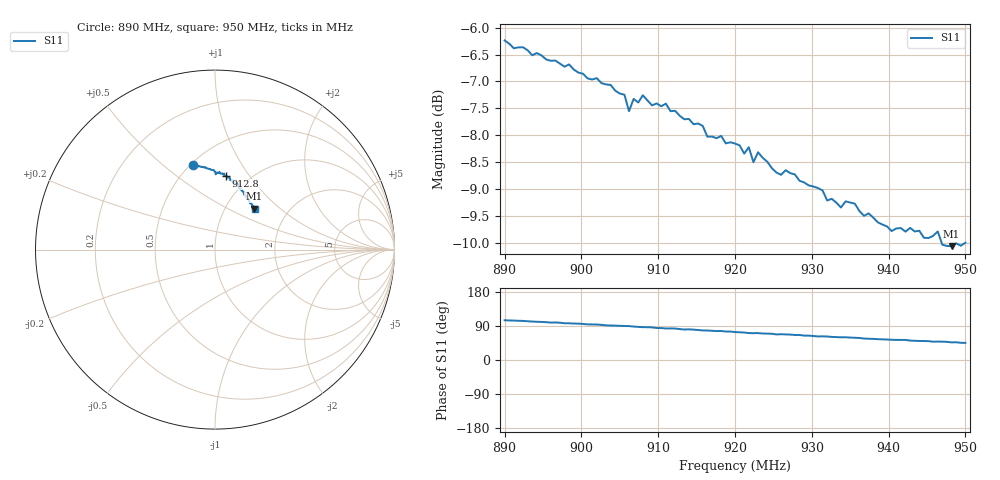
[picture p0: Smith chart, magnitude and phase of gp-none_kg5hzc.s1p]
# HZ S RI R 50
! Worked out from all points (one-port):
!   101 points, 890 MHz to 950 MHz, reference 50 ohm
!   lowest |S11| = -10.1 dB at 948.2 MHz (marker M1), VSWR 1.92, Z = 67.6 + j34.2 ohm
!   |S11| at or under -10 dB: 946.9237 MHz to 949.9295 MHz (3.006 MHz wide, 0.317 % of centre)
!   S11 on the Smith chart (normalised r, x): 890 MHz: 0.51, +0.63; 912.8 MHz: 0.79, +0.78; 950 MHz: 1.38, +0.69
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8.9e8  -0.1253 0.4712
8.966e8  -0.0729 0.4614
8.978e8  -0.0562 0.4576
9.05e8  -0.00141 0.4353
9.056e8  0.00164 0.4342
9.062e8  0.00369 0.4192
9.068e8  0.0136 0.4302
9.08e8  0.0254 0.433
9.128e8  0.0602 0.4107
9.158e8  0.0841 0.3974
9.164e8  0.0838 0.388
9.2e8  0.1092 0.3756
9.212e8  0.115 0.3652
9.218e8  0.1261 0.3671
9.224e8  0.1233 0.3551
9.23e8  0.1251 0.363
9.254e8  0.1406 0.3397
9.278e8  0.1488 0.3346
9.338e8  0.1714 0.295
9.35e8  0.1766 0.2962
9.404e8  0.1935 0.2604
9.422e8  0.1951 0.2588
9.428e8  0.2044 0.2548
9.446e8  0.2052 0.2453
9.464e8  0.2141 0.2434
9.47e8  0.2094 0.2355
9.482e8  0.2162 0.2279
9.5e8  0.2229 0.2247
